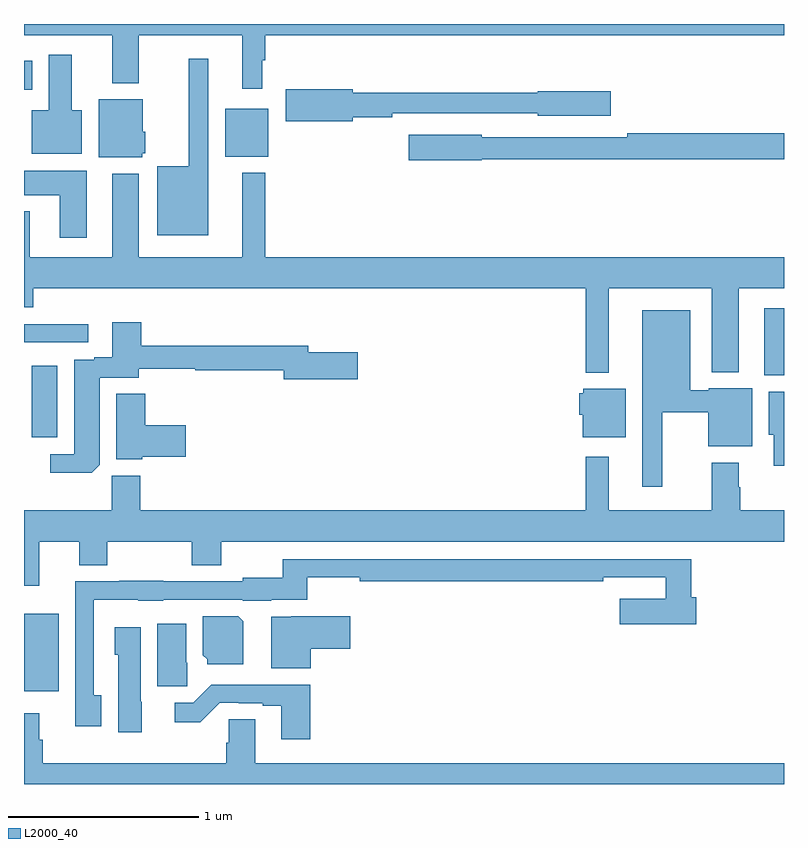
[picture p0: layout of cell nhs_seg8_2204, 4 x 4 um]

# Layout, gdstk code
import gdstk
lib = gdstk.Library(unit=1e-6, precision=1e-09)
def R(c, l, rs):  # rectangles x0, y0, x1, y1
    for r in rs: c.add(gdstk.rectangle(r[:2], r[2:], *l))
def P(c, l, *ps):  # polygons
    for p in ps: c.add(gdstk.Polygon(p, *l))
L2000_40 = (2000, 40)

nhs_seg8_2204 = lib.new_cell('nhs_seg8_2204')
R(nhs_seg8_2204, L2000_40, [(251,1106.387,251.182,1106.797), (251.042,1107.726,251.176,1108.102), (254.897,1108.052,255,1108.405), (251,1108.224,251.338,1108.32), (252.059,1109.201,252.286,1109.455), (251,1109.555,251.044,1109.707)])
P(nhs_seg8_2204, L2000_40, [(252.253,1109.708),(252.271,1109.708),(252.271,1109.84),(255,1109.84),(255,1109.9),(251,1109.9),(251,1109.84),(251.465,1109.84),(251.465,1109.588),(251.605,1109.588),(251.605,1109.84),(252.149,1109.84),(252.149,1109.559),(252.253,1109.559)],
  [(251.305,1109.446),(251.251,1109.446),(251.251,1109.737),(251.129,1109.737),(251.129,1109.446),(251.042,1109.446),(251.042,1109.216),(251.305,1109.216)],
  [(251.971,1109.716),(251.867,1109.716),(251.867,1109.152),(251.702,1109.152),(251.702,1108.787),(251.971,1108.787)],
  [(252.73,1109.41),(252.938,1109.41),(252.938,1109.43),(253.704,1109.43),(253.704,1109.417),(254.089,1109.417),(254.089,1109.547),(253.704,1109.547),(253.704,1109.539),(252.73,1109.539),(252.73,1109.557),(252.378,1109.557),(252.378,1109.387),(252.73,1109.387)],
  [(251.622,1109.22),(251.638,1109.22),(251.638,1109.334),(251.626,1109.334),(251.626,1109.503),(251.393,1109.503),(251.393,1109.198),(251.622,1109.198)],
  [(253.41,1109.188),(255,1109.188),(255,1109.324),(254.176,1109.324),(254.176,1109.304),(253.41,1109.304),(253.41,1109.317),(253.026,1109.317),(253.026,1109.183),(253.41,1109.183)],
  [(251.329,1109.128),(251,1109.128),(251,1109),(251.189,1109),(251.189,1108.776),(251.329,1108.776)],
  [(254.077,1108.508),(254.621,1108.508),(254.621,1108.067),(254.761,1108.067),(254.761,1108.508),(255,1108.508),(255,1108.672),(252.271,1108.672),(252.271,1109.116),(252.149,1109.116),(252.149,1108.672),(251.605,1108.672),(251.605,1109.113),(251.465,1109.113),(251.465,1108.672),(251.029,1108.672),(251.029,1108.915),(251,1108.915),(251,1108.409),(251.048,1108.409),(251.048,1108.508),(253.956,1108.508),(253.956,1108.064),(254.077,1108.064)],
  [(254.359,1107.856),(254.6,1107.856),(254.6,1107.677),(254.833,1107.677),(254.833,1107.982),(254.604,1107.982),(254.604,1107.972),(254.506,1107.972),(254.506,1108.393),(254.255,1108.393),(254.255,1107.465),(254.359,1107.465)],
  [(251.398,1107.58),(251.398,1108.038),(251.605,1108.038),(251.605,1108.086),(251.901,1108.086),(251.901,1108.078),(252.368,1108.078),(252.368,1108.031),(252.757,1108.031),(252.757,1108.173),(252.496,1108.173),(252.496,1108.207),(251.618,1108.207),(251.618,1108.33),(251.465,1108.33),(251.465,1108.147),(251.369,1108.147),(251.369,1108.134),(251.264,1108.134),(251.264,1107.636),(251.139,1107.636),(251.139,1107.539),(251.356,1107.539)],
  [(254.167,1107.979),(253.944,1107.979),(253.944,1107.957),(253.922,1107.957),(253.922,1107.843),(253.94,1107.843),(253.94,1107.725),(254.167,1107.725)],
  [(255,1107.964),(254.921,1107.964),(254.921,1107.738),(254.945,1107.738),(254.945,1107.576),(255,1107.576)],
  [(251.622,1107.623),(251.851,1107.623),(251.851,1107.789),(251.639,1107.789),(251.639,1107.953),(251.486,1107.953),(251.486,1107.608),(251.622,1107.608)],
  [(251.081,1107.176),(251.291,1107.176),(251.291,1107.052),(251.439,1107.052),(251.439,1107.176),(251.884,1107.176),(251.884,1107.052),(252.039,1107.052),(252.039,1107.176),(255,1107.176),(255,1107.34),(254.769,1107.34),(254.769,1107.461),(254.761,1107.461),(254.761,1107.592),(254.621,1107.592),(254.621,1107.34),(254.077,1107.34),(254.077,1107.622),(253.956,1107.622),(253.956,1107.34),(251.612,1107.34),(251.612,1107.522),(251.461,1107.522),(251.461,1107.34),(251,1107.34),(251,1106.943),(251.081,1106.943)],
  [(251.407,1106.366),(251.367,1106.366),(251.367,1106.87),(251.601,1106.87),(251.601,1106.864),(251.733,1106.864),(251.733,1106.871),(252.15,1106.871),(252.15,1106.864),(252.3,1106.864),(252.3,1106.87),(252.491,1106.87),(252.491,1106.987),(252.768,1106.987),(252.768,1106.968),(254.048,1106.968),(254.048,1106.988),(254.377,1106.988),(254.377,1106.875),(254.136,1106.875),(254.136,1106.741),(254.537,1106.741),(254.537,1106.883),(254.513,1106.883),(254.513,1107.084),(252.363,1107.084),(252.363,1106.986),(252.15,1106.986),(252.15,1106.967),(251.733,1106.967),(251.733,1106.969),(251.501,1106.969),(251.501,1106.967),(251.271,1106.967),(251.271,1106.205),(251.407,1106.205)],
  [(252.508,1106.612),(252.718,1106.612),(252.718,1106.782),(252.406,1106.782),(252.406,1106.78),(252.302,1106.78),(252.302,1106.51),(252.508,1106.51)],
  [(252.154,1106.756),(252.128,1106.782),(251.942,1106.782),(251.942,1106.578),(251.964,1106.556),(251.964,1106.531),(252.154,1106.531)],
  [(251.858,1106.538),(251.854,1106.538),(251.854,1106.743),(251.702,1106.743),(251.702,1106.415),(251.858,1106.415)],
  [(251.62,1106.334),(251.614,1106.334),(251.614,1106.725),(251.477,1106.725),(251.477,1106.58),(251.495,1106.58),(251.495,1106.172),(251.62,1106.172)],
  [(252.506,1106.422),(251.986,1106.422),(251.892,1106.328),(251.793,1106.328),(251.793,1106.226),(251.928,1106.226),(252.03,1106.328),(252.13,1106.328),(252.13,1106.325),(252.257,1106.325),(252.257,1106.313),(252.353,1106.313),(252.353,1106.136),(252.506,1106.136)],
  [(255,1106.008),(252.217,1106.008),(252.217,1106.24),(252.078,1106.24),(252.078,1106.118),(252.065,1106.118),(252.065,1106.008),(251.099,1106.008),(251.099,1106.132),(251.081,1106.132),(251.081,1106.272),(251,1106.272),(251,1105.9),(255,1105.9)])

lib.write_gds('nhs_seg8_2204.gds')
